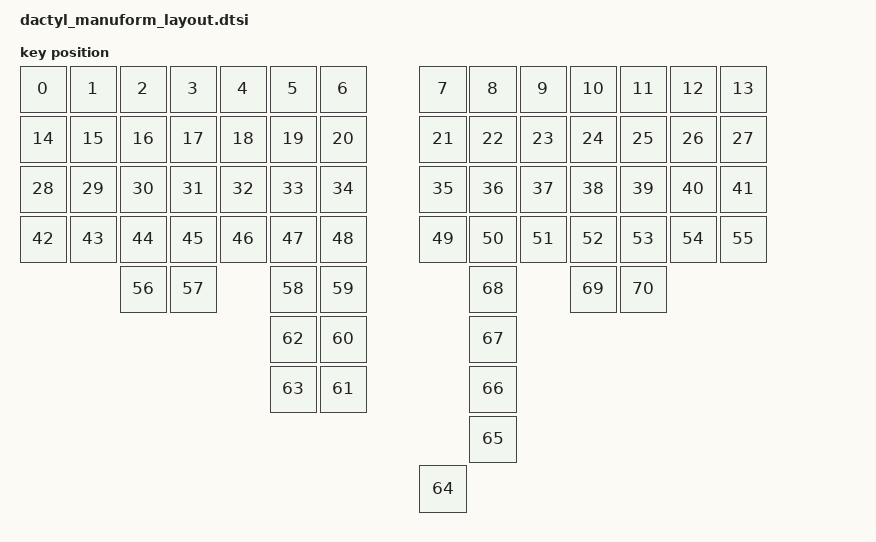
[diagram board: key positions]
#include <physical_layouts.dtsi>

/ {
    dactyl_manuform_5x7_layout: dactyl_manuform_5x7_layout {
        compatible = "zmk,physical-layout";
        display-name = "dactyl_manuform_5x7";

        keys  //                     w   h    x    y     rot    rx    ry
            = <&key_physical_attrs 100 100    0    0       0     0     0>
            , <&key_physical_attrs 100 100  100    0       0     0     0>
            , <&key_physical_attrs 100 100  200    0       0     0     0>
            , <&key_physical_attrs 100 100  300    0       0     0     0>
            , <&key_physical_attrs 100 100  400    0       0     0     0>
            , <&key_physical_attrs 100 100  500    0       0     0     0>
            , <&key_physical_attrs 100 100  600    0       0     0     0>
            , <&key_physical_attrs 100 100  800    0       0     0     0>
            , <&key_physical_attrs 100 100  900    0       0     0     0>
            , <&key_physical_attrs 100 100 1000    0       0     0     0>
            , <&key_physical_attrs 100 100 1100    0       0     0     0>
            , <&key_physical_attrs 100 100 1200    0       0     0     0>
            , <&key_physical_attrs 100 100 1300    0       0     0     0>
            , <&key_physical_attrs 100 100 1400    0       0     0     0>
            , <&key_physical_attrs 100 100    0  100       0     0     0>
            , <&key_physical_attrs 100 100  100  100       0     0     0>
            , <&key_physical_attrs 100 100  200  100       0     0     0>
            , <&key_physical_attrs 100 100  300  100       0     0     0>
            , <&key_physical_attrs 100 100  400  100       0     0     0>
            , <&key_physical_attrs 100 100  500  100       0     0     0>
            , <&key_physical_attrs 100 100  600  100       0     0     0>
            , <&key_physical_attrs 100 100  800  100       0     0     0>
            , <&key_physical_attrs 100 100  900  100       0     0     0>
            , <&key_physical_attrs 100 100 1000  100       0     0     0>
            , <&key_physical_attrs 100 100 1100  100       0     0     0>
            , <&key_physical_attrs 100 100 1200  100       0     0     0>
            , <&key_physical_attrs 100 100 1300  100       0     0     0>
            , <&key_physical_attrs 100 100 1400  100       0     0     0>
            , <&key_physical_attrs 100 100    0  200       0     0     0>
            , <&key_physical_attrs 100 100  100  200       0     0     0>
            , <&key_physical_attrs 100 100  200  200       0     0     0>
            , <&key_physical_attrs 100 100  300  200       0     0     0>
            , <&key_physical_attrs 100 100  400  200       0     0     0>
            , <&key_physical_attrs 100 100  500  200       0     0     0>
            , <&key_physical_attrs 100 100  600  200       0     0     0>
            , <&key_physical_attrs 100 100  800  200       0     0     0>
            , <&key_physical_attrs 100 100  900  200       0     0     0>
            , <&key_physical_attrs 100 100 1000  200       0     0     0>
            , <&key_physical_attrs 100 100 1100  200       0     0     0>
            , <&key_physical_attrs 100 100 1200  200       0     0     0>
            , <&key_physical_attrs 100 100 1300  200       0     0     0>
            , <&key_physical_attrs 100 100 1400  200       0     0     0>
            , <&key_physical_attrs 100 100    0  300       0     0     0>
            , <&key_physical_attrs 100 100  100  300       0     0     0>
            , <&key_physical_attrs 100 100  200  300       0     0     0>
            , <&key_physical_attrs 100 100  300  300       0     0     0>
            , <&key_physical_attrs 100 100  400  300       0     0     0>
            , <&key_physical_attrs 100 100  500  300       0     0     0>
            , <&key_physical_attrs 100 100  600  300       0     0     0>
            , <&key_physical_attrs 100 100  800  300       0     0     0>
            , <&key_physical_attrs 100 100  900  300       0     0     0>
            , <&key_physical_attrs 100 100 1000  300       0     0     0>
            , <&key_physical_attrs 100 100 1100  300       0     0     0>
            , <&key_physical_attrs 100 100 1200  300       0     0     0>
            , <&key_physical_attrs 100 100 1300  300       0     0     0>
            , <&key_physical_attrs 100 100 1400  300       0     0     0>
            , <&key_physical_attrs 100 100  200  400       0     0     0>
            , <&key_physical_attrs 100 100  300  400       0     0     0>
            , <&key_physical_attrs 100 100  500  400       0     0     0>
            , <&key_physical_attrs 100 100  600  400       0     0     0>
            , <&key_physical_attrs 100 100  600  500       0     0     0>
            , <&key_physical_attrs 100 100  600  600       0     0     0>
            , <&key_physical_attrs 100 100  500  500       0     0     0>
            , <&key_physical_attrs 100 100  500  600       0     0     0>
            , <&key_physical_attrs 100 100  800  800       0     0     0>
            , <&key_physical_attrs 100 100  900  700       0     0     0>
            , <&key_physical_attrs 100 100  900  600       0     0     0>
            , <&key_physical_attrs 100 100  900  500       0     0     0>
            , <&key_physical_attrs 100 100  900  400       0     0     0>
            , <&key_physical_attrs 100 100 1100  400       0     0     0>
            , <&key_physical_attrs 100 100 1200  400       0     0     0>
            ;
    };

        dactyl_position_map {
            compatible = "zmk,physical-layout-position-map";

            complete;

            dactyl {
                physical-layout = <&dactyl_manuform_5x7_layout>;
                positions
                    = < 0  1  2  3  4  5  6  7  8  9 10 11 12 13 14 15>
                    , <16 17 18 19 20 21 22 23 24 25 26 27 28 29 30 31>
                    , <32 33 34 35 36 37 38 39 40 41 42 43 44 45 46 47>
                    , <48 49 50 51 52 53 54 55 56 57 58 59 60 61 62 63>
                    , <64 65 66 67 68 69 70>
                    ;
            };
        };

};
